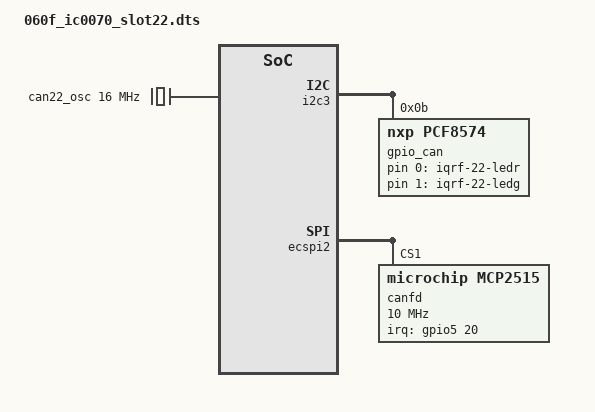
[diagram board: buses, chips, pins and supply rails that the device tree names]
/dts-v1/;


/plugin/;

/ {
	fragment@0 {
		target = <&i2c3>;
		__overlay__ {
			#address-cells = <1>;
			#size-cells = <0>;
			gpio_can: pca9501@11 {
				compatible = "nxp,pcf8574";
				gpio-controller;
				#gpio-cells = <2>;
				reg = <11>;
				gpio-line-names = "SLOT22_IQRF_BTN",
					"SLOT22_CANFD_LED0",
					"SLOT22_CANFD_LED1",
					"SLOT22_CANFD_RESET_N";
			};
		};
	};

	fragment@1 {
		target = <&ecspi2>;
		__overlay__ {
			status = "okay";
			#address-cells = <1>;
			#size-cells = <0>;

			canfd: spi@1 {
				compatible = "microchip,mcp2515";
				reg = <1>;
				status = "okay";
				spi-max-frequency = <10000000>;
				clocks = <&can22_osc>;
				pinctrl-names = "default";
				pinctrl-0 = <&pinctrl_slotirq0>;
				interrupt-parent = <&gpio5>;
				interrupts = <20 0>;
			};
		};
	};

	fragment@4 {
		target-path = "/";
		__overlay__ {
			led_slot22 {
				compatible = "gpio-leds";
				iqrf-led@1 {
					label = "iqrf-22-ledr";
					gpios = <&gpio_can 0 0>;
					default-state = "off";
					color = <1>;
				};
				iqrf-led@2 {
					label = "iqrf-22-ledg";
					gpios = <&gpio_can 1 0>;
					default-state = "off";
					color = <2>;
				};
			};
		}; 
	};

   fragment@5 {
       target-path = "/";
       __overlay__ {
           /* external oscillator of mcp2515 */
           can22_osc: can22_osc {
               compatible = "fixed-clock";
               #clock-cells = <0>;
               clock-frequency  = <16000000>;
           };
       };
   };

};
